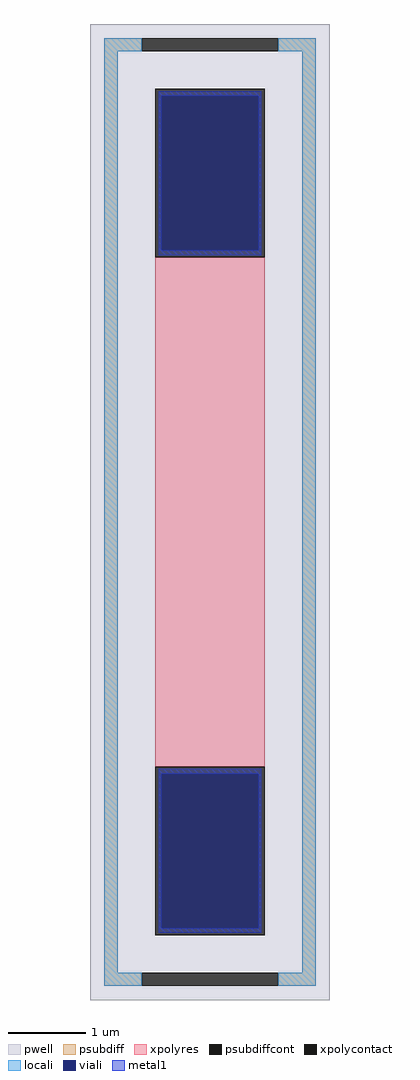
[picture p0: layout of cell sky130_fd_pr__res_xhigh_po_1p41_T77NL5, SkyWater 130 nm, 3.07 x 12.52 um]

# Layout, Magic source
magic
tech sky130A
magscale 1 2
<< pwell >>
rect -307 -1252 307 1252
<< psubdiff >>
rect -271 1182 -175 1216
rect 175 1182 271 1216
rect -271 -1182 -237 1182
rect 237 -1182 271 1182
rect -271 -1216 -175 -1182
rect 175 -1216 271 -1182
<< psubdiffcont >>
rect -175 1182 175 1216
rect -175 -1216 175 -1182
<< xpolycontact >>
rect -141 654 141 1086
rect -141 -1086 141 -654
<< xpolyres >>
rect -141 -654 141 654
<< locali >>
rect -271 1182 -175 1216
rect 175 1182 271 1216
rect -271 -1182 -237 1182
rect 237 -1182 271 1182
rect -271 -1216 -175 -1182
rect 175 -1216 271 -1182
<< viali >>
rect -125 671 125 1068
rect -125 -1068 125 -671
<< metal1 >>
rect -131 1068 131 1080
rect -131 671 -125 1068
rect 125 671 131 1068
rect -131 659 131 671
rect -131 -671 131 -659
rect -131 -1068 -125 -671
rect 125 -1068 131 -671
rect -131 -1080 131 -1068
<< properties >>
string FIXED_BBOX -254 -1199 254 1199
string gencell sky130_fd_pr__res_xhigh_po_1p41
string library sky130
string parameters w 1.410 l 6.7 m 1 nx 1 wmin 1.410 lmin 0.50 class resistor rho 2000 val 9.77k dummy 0 dw 0.0 term 188.2 sterm 0.0 caplen 0 wmax 1.410 guard 1 glc 0 grc 0 gtc 1 gbc 1 compatible {sky130_fd_pr__res_xhigh_po_0p35  sky130_fd_pr__res_xhigh_po_0p69 sky130_fd_pr__res_xhigh_po_1p41  sky130_fd_pr__res_xhigh_po_2p85 sky130_fd_pr__res_xhigh_po_5p73} snake 0 full_metal 1 n_guard 0 hv_guard 0 vias 1 viagb 0 viagt 0 viagl 0 viagr 0
<< end >>
